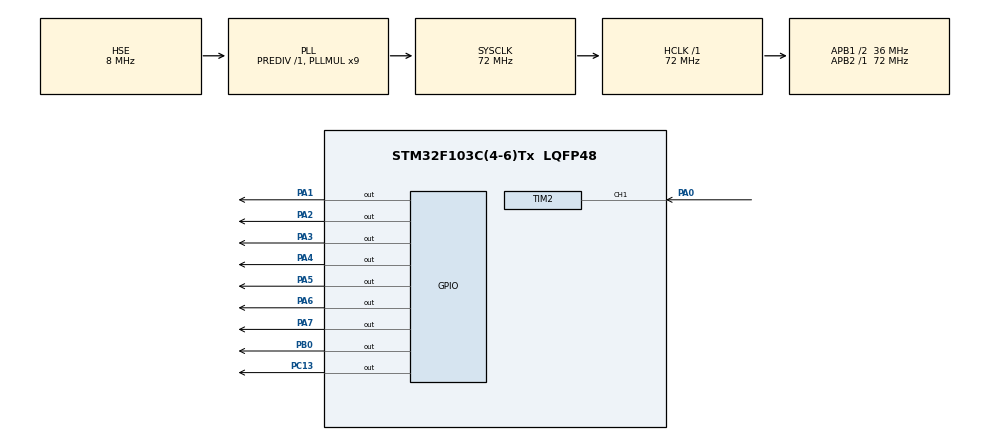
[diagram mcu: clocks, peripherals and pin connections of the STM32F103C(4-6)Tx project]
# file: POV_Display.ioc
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FREERTOS.BinarySemaphores01=DispBinarySem,Dynamic,NULL;ICUBinarySem,Dynamic,NULL;Del1BinarySem,Dynamic,NULL
FREERTOS.Tasks01=MeasureTimeTask,31,85,MeasureTask,Default,NULL,Dynamic,NULL,NULL;POVPrintTask,14,85,PrintPOVTask,Default,NULL,Dynamic,NULL,NULL;ClockTask,13,85,UpdateClockTask,Default,NULL,Dynamic,NULL,NULL;String1Task,12,85,StringOneTask,Default,NULL,Dynamic,NULL,NULL;InitTask,16,85,InitializationTask,Default,NULL,Dynamic,NULL,NULL
FREERTOS.Timers01=SecondsTimer,GetSeconds,osTimerPeriodic,Default,NULL,Dynamic,NULL
FREERTOS.configMINIMAL_STACK_SIZE=85
Mcu.Family=STM32F1
Mcu.Name=STM32F103C(4-6)Tx
Mcu.Package=LQFP48
NVIC.PriorityGroup=NVIC_PRIORITYGROUP_4
NVIC.TIM1_UP_IRQn=true\:15\:0\:false\:false\:true\:false\:false\:true\:true
NVIC.TIM2_IRQn=true\:5\:0\:true\:false\:true\:true\:true\:true\:true
NVIC.TIM3_IRQn=true\:5\:0\:false\:false\:true\:true\:true\:true\:true
NVIC.TimeBase=TIM1_UP_IRQn
NVIC.TimeBaseIP=TIM1
PA0-WKUP.Signal=S_TIM2_CH1_ETR
PA1.GPIO_Speed=GPIO_SPEED_FREQ_MEDIUM
PA1.Signal=GPIO_Output
PA13.Mode=Serial_Wire
PA13.Signal=SYS_JTMS-SWDIO
PA14.Mode=Serial_Wire
PA14.Signal=SYS_JTCK-SWCLK
PA2.GPIO_Speed=GPIO_SPEED_FREQ_MEDIUM
PA2.Signal=GPIO_Output
PA3.GPIO_Speed=GPIO_SPEED_FREQ_MEDIUM
PA3.Signal=GPIO_Output
PA4.GPIO_Speed=GPIO_SPEED_FREQ_MEDIUM
PA4.Signal=GPIO_Output
PA5.GPIO_Speed=GPIO_SPEED_FREQ_MEDIUM
PA5.Signal=GPIO_Output
PA6.GPIO_Speed=GPIO_SPEED_FREQ_MEDIUM
PA6.Signal=GPIO_Output
PA7.GPIO_Speed=GPIO_SPEED_FREQ_MEDIUM
PA7.Signal=GPIO_Output
PB0.GPIO_Speed=GPIO_SPEED_FREQ_MEDIUM
PB0.Signal=GPIO_Output
PC13-TAMPER-RTC.GPIO_Speed=GPIO_SPEED_FREQ_MEDIUM
PC13-TAMPER-RTC.Signal=GPIO_Output
PC14-OSC32_IN.Mode=LSE-External-Oscillator
PC14-OSC32_IN.Signal=RCC_OSC32_IN
PC15-OSC32_OUT.Mode=LSE-External-Oscillator
PC15-OSC32_OUT.Signal=RCC_OSC32_OUT
PD0-OSC_IN.Mode=HSE-External-Oscillator
PD0-OSC_IN.Signal=RCC_OSC_IN
PD1-OSC_OUT.Mode=HSE-External-Oscillator
PD1-OSC_OUT.Signal=RCC_OSC_OUT
ProjectManager.HeapSize=0x200
ProjectManager.StackSize=0x400
ProjectManager.TargetToolchain=STM32CubeIDE
RCC.AHBFreq_Value=72000000
RCC.APB1CLKDivider=RCC_HCLK_DIV2
RCC.APB1Freq_Value=36000000
RCC.APB1TimFreq_Value=72000000
RCC.APB2Freq_Value=72000000
RCC.APB2TimFreq_Value=72000000
RCC.HCLKFreq_Value=72000000
RCC.PLLMUL=RCC_PLL_MUL9
RCC.PLLSourceVirtual=RCC_PLLSOURCE_HSE
RCC.SYSCLKFreq_VALUE=72000000
RCC.SYSCLKSource=RCC_SYSCLKSOURCE_PLLCLK
RCC.USBFreq_Value=72000000
SH.S_TIM2_CH1_ETR.0=TIM2_CH1,Input_Capture1_from_TI1
TIM2.AutoReloadPreload=TIM_AUTORELOAD_PRELOAD_ENABLE
TIM2.Channel-Input_Capture1_from_TI1=TIM_CHANNEL_1
TIM2.ICFilter_CH1=10
TIM2.ICPolarity_CH1=TIM_INPUTCHANNELPOLARITY_FALLING
TIM2.Period=65535
TIM2.Prescaler=0
TIM3.AutoReloadPreload=TIM_AUTORELOAD_PRELOAD_ENABLE
TIM3.Period=724
VP_FREERTOS_VS_CMSIS_V2.Mode=CMSIS_V2
VP_SYS_VS_tim1.Mode=TIM1
VP_TIM2_VS_ClockSourceINT.Mode=Internal
VP_TIM3_VS_ClockSourceINT.Mode=Internal
board=custom

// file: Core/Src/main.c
/* USER CODE BEGIN Header */
/**
  ******************************************************************************
  * @file           : main.c
  * @brief          : Main program body
  ******************************************************************************
  * @attention
  *
  * Copyright (c) 2024 STMicroelectronics.
  * All rights reserved.
  *
  * This software is licensed under terms that can be found in the LICENSE file
  * in the root directory of this software component.
  * If no LICENSE file comes with this software, it is provided AS-IS.
  *
  ******************************************************************************
  */
/* USER CODE END Header */
#include "main.h"
#include "cmsis_os.h"

/* USER CODE BEGIN Includes */
#include "POV_Display.h"
#include <string.h>
/* USER CODE END Includes */

TIM_HandleTypeDef htim2;
TIM_HandleTypeDef htim3;

/* Definitions for MeasureTimeTask */
osThreadId_t MeasureTimeTaskHandle;
const osThreadAttr_t MeasureTimeTask_attributes = {
  .name = "MeasureTimeTask",
  .stack_size = 85 * 4,
  .priority = (osPriority_t) osPriorityNormal7,
};
/* Definitions for POVPrintTask */
osThreadId_t POVPrintTaskHandle;
const osThreadAttr_t POVPrintTask_attributes = {
  .name = "POVPrintTask",
  .stack_size = 85 * 4,
  .priority = (osPriority_t) osPriorityLow6,
};
/* Definitions for ClockTask */
osThreadId_t ClockTaskHandle;
const osThreadAttr_t ClockTask_attributes = {
  .name = "ClockTask",
  .stack_size = 85 * 4,
  .priority = (osPriority_t) osPriorityLow5,
};
/* Definitions for String1Task */
osThreadId_t String1TaskHandle;
const osThreadAttr_t String1Task_attributes = {
  .name = "String1Task",
  .stack_size = 85 * 4,
  .priority = (osPriority_t) osPriorityLow4,
};
/* Definitions for InitTask */
osThreadId_t InitTaskHandle;
const osThreadAttr_t InitTask_attributes = {
  .name = "InitTask",
  .stack_size = 85 * 4,
  .priority = (osPriority_t) osPriorityBelowNormal,
};
/* Definitions for SecondsTimer */
osTimerId_t SecondsTimerHandle;
const osTimerAttr_t SecondsTimer_attributes = {
  .name = "SecondsTimer"
};
/* Definitions for DispBinarySem */
osSemaphoreId_t DispBinarySemHandle;
const osSemaphoreAttr_t DispBinarySem_attributes = {
  .name = "DispBinarySem"
};
/* Definitions for ICUBinarySem */
osSemaphoreId_t ICUBinarySemHandle;
const osSemaphoreAttr_t ICUBinarySem_attributes = {
  .name = "ICUBinarySem"
};
/* Definitions for Del1BinarySem */
osSemaphoreId_t Del1BinarySemHandle;
const osSemaphoreAttr_t Del1BinarySem_attributes = {
  .name = "Del1BinarySem"
};
/* USER CODE BEGIN PV */

const uint8_t data[RESOLUTION] =      /* �?لسطين،حرة */
{
		0x04, 0x0c, 0x1c, 0x3c, 0x7c, 0xfc, 0x7c, 0x3c,
		0x1c, 0x0c, 0x04, 0x00, 0x00, 0x00, 0x00, 0x00,
		0x00, 0x00, 0x71, 0xcc, 0xd9, 0x70, 0x00, 0x80,
		0x80, 0xcc, 0x78, 0x30, 0x30, 0x30, 0x30, 0x30,

		0x30, 0x30, 0x30, 0x30, 0x30, 0x30, 0x30, 0x30,
		0x30, 0x30, 0x30, 0x30, 0x30, 0x30, 0x30, 0x34,
		0x36, 0x16, 0x1c, 0x18, 0x18, 0x00, 0x00, 0x00,
		0x00, 0x00, 0x00, 0x00, 0x00, 0x00, 0x00, 0x00,

		0x70, 0xc8, 0xc1, 0xc0, 0x64, 0x38, 0x30, 0x30,
		0x30, 0x30, 0x30, 0x30, 0x30, 0x30, 0xb0, 0x30,
		0x9c, 0x30, 0x30, 0x30, 0x30, 0x30, 0x30, 0x30,
		0x30, 0x3f, 0x38, 0x34, 0x36, 0x36, 0x1c, 0x30,

		0x30, 0x30, 0x30, 0x30, 0x30, 0x30, 0x30, 0x30,
		0x30, 0x30, 0x30, 0x30, 0x30, 0x18, 0x30, 0x30,
		0x1c, 0x30, 0x36, 0x1c, 0x30, 0x30, 0x30, 0x30,
		0x30, 0x1f, 0x30, 0x30, 0x30, 0x36, 0x15, 0x0e
};

uint8_t DayNight[3] = "PM";
const uint8_t Message[][20] =
{
	{"David S. Alexander"},
	{"Free Palestine"    },
	{"Never Give Up"     },
	{"123 ABC @#$%^&{*+("},
	{"< God Is Love >"   }
};
uint8_t MessageCounter = 0;
uint8_t Seconds     = 35;
uint8_t Minutes     = 59;
uint8_t Hours       = 12;
/* USER CODE END PV */

void SystemClock_Config(void);
static void MX_GPIO_Init(void);
static void MX_TIM2_Init(void);
static void MX_TIM3_Init(void);
void MeasureTask(void *argument);
void PrintPOVTask(void *argument);
void UpdateClockTask(void *argument);
void StringOneTask(void *argument);
void InitializationTask(void *argument);
void GetSeconds(void *argument);

/* USER CODE BEGIN PFP */
void POV_DisplayIntro(void);
/* USER CODE END PFP */

int main(void)
{

  /* MCU Configuration--------------------------------------------------------*/

  /* Reset of all peripherals, Initializes the Flash interface and the Systick. */
  HAL_Init();

  /* Configure the system clock */
  SystemClock_Config();

  /* Initialize all configured peripherals */
  MX_GPIO_Init();
  MX_TIM2_Init();
  MX_TIM3_Init();

  /* Init scheduler */
  osKernelInitialize();

  /* Create the semaphores(s) */
  /* creation of DispBinarySem */
  DispBinarySemHandle = osSemaphoreNew(1, 1, &DispBinarySem_attributes);

  /* creation of ICUBinarySem */
  ICUBinarySemHandle = osSemaphoreNew(1, 1, &ICUBinarySem_attributes);

  /* creation of Del1BinarySem */
  Del1BinarySemHandle = osSemaphoreNew(1, 0, &Del1BinarySem_attributes);

  /* Create the timer(s) */
  /* creation of SecondsTimer */
  SecondsTimerHandle = osTimerNew(GetSeconds, osTimerPeriodic, NULL, &SecondsTimer_attributes);

  /* USER CODE BEGIN RTOS_TIMERS */
  /* start timers, add new ones, ... */
  osTimerStart(SecondsTimerHandle, 1000U);
  /* USER CODE END RTOS_TIMERS */

  /* Create the thread(s) */
  /* creation of MeasureTimeTask */
  MeasureTimeTaskHandle = osThreadNew(MeasureTask, NULL, &MeasureTimeTask_attributes);

  /* creation of POVPrintTask */
  POVPrintTaskHandle = osThreadNew(PrintPOVTask, NULL, &POVPrintTask_attributes);

  /* creation of ClockTask */
  ClockTaskHandle = osThreadNew(UpdateClockTask, NULL, &ClockTask_attributes);

  /* creation of String1Task */
  String1TaskHandle = osThreadNew(StringOneTask, NULL, &String1Task_attributes);

  /* creation of InitTask */
  InitTaskHandle = osThreadNew(InitializationTask, NULL, &InitTask_attributes);

  /* Start scheduler */
  osKernelStart();

  /* We should never get here as control is now taken by the scheduler */
  /* Infinite loop */
  while (1)
  {

  }
}

void SystemClock_Config(void)
{
  RCC_OscInitTypeDef RCC_OscInitStruct = {0};
  RCC_ClkInitTypeDef RCC_ClkInitStruct = {0};

  /** Initializes the RCC Oscillators according to the specified parameters
  * in the RCC_OscInitTypeDef structure.
  */
  RCC_OscInitStruct.OscillatorType = RCC_OSCILLATORTYPE_HSE;
  RCC_OscInitStruct.HSEState = RCC_HSE_ON;
  RCC_OscInitStruct.HSEPredivValue = RCC_HSE_PREDIV_DIV1;
  RCC_OscInitStruct.HSIState = RCC_HSI_ON;
  RCC_OscInitStruct.PLL.PLLState = RCC_PLL_ON;
  RCC_OscInitStruct.PLL.PLLSource = RCC_PLLSOURCE_HSE;
  RCC_OscInitStruct.PLL.PLLMUL = RCC_PLL_MUL9;
  if (HAL_RCC_OscConfig(&RCC_OscInitStruct) != HAL_OK)
  {
    Error_Handler();
  }

  /** Initializes the CPU, AHB and APB buses clocks
  */
  RCC_ClkInitStruct.ClockType = RCC_CLOCKTYPE_HCLK|RCC_CLOCKTYPE_SYSCLK
                              |RCC_CLOCKTYPE_PCLK1|RCC_CLOCKTYPE_PCLK2;
  RCC_ClkInitStruct.SYSCLKSource = RCC_SYSCLKSOURCE_PLLCLK;
  RCC_ClkInitStruct.AHBCLKDivider = RCC_SYSCLK_DIV1;
  RCC_ClkInitStruct.APB1CLKDivider = RCC_HCLK_DIV2;
  RCC_ClkInitStruct.APB2CLKDivider = RCC_HCLK_DIV1;

  if (HAL_RCC_ClockConfig(&RCC_ClkInitStruct, FLASH_LATENCY_2) != HAL_OK)
  {
    Error_Handler();
  }
}

static void MX_TIM2_Init(void)
{

  TIM_ClockConfigTypeDef sClockSourceConfig = {0};
  TIM_MasterConfigTypeDef sMasterConfig = {0};
  TIM_IC_InitTypeDef sConfigIC = {0};

  htim2.Instance = TIM2;
  htim2.Init.Prescaler = 0;
  htim2.Init.CounterMode = TIM_COUNTERMODE_UP;
  htim2.Init.Period = 65535;
  htim2.Init.ClockDivision = TIM_CLOCKDIVISION_DIV1;
  htim2.Init.AutoReloadPreload = TIM_AUTORELOAD_PRELOAD_ENABLE;
  if (HAL_TIM_Base_Init(&htim2) != HAL_OK)
  {
    Error_Handler();
  }
  sClockSourceConfig.ClockSource = TIM_CLOCKSOURCE_INTERNAL;
  if (HAL_TIM_ConfigClockSource(&htim2, &sClockSourceConfig) != HAL_OK)
  {
    Error_Handler();
  }
  if (HAL_TIM_IC_Init(&htim2) != HAL_OK)
  {
    Error_Handler();
  }
  sMasterConfig.MasterOutputTrigger = TIM_TRGO_RESET;
  sMasterConfig.MasterSlaveMode = TIM_MASTERSLAVEMODE_DISABLE;
  if (HAL_TIMEx_MasterConfigSynchronization(&htim2, &sMasterConfig) != HAL_OK)
  {
    Error_Handler();
  }
  sConfigIC.ICPolarity = TIM_INPUTCHANNELPOLARITY_FALLING;
  sConfigIC.ICSelection = TIM_ICSELECTION_DIRECTTI;
  sConfigIC.ICPrescaler = TIM_ICPSC_DIV1;
  sConfigIC.ICFilter = 10;
  if (HAL_TIM_IC_ConfigChannel(&htim2, &sConfigIC, TIM_CHANNEL_1) != HAL_OK)
  {
    Error_Handler();
  }

}

static void MX_TIM3_Init(void)
{

  TIM_ClockConfigTypeDef sClockSourceConfig = {0};
  TIM_MasterConfigTypeDef sMasterConfig = {0};

  htim3.Instance = TIM3;
  htim3.Init.Prescaler = 0;
  htim3.Init.CounterMode = TIM_COUNTERMODE_UP;
  htim3.Init.Period = 724;
  htim3.Init.ClockDivision = TIM_CLOCKDIVISION_DIV1;
  htim3.Init.AutoReloadPreload = TIM_AUTORELOAD_PRELOAD_ENABLE;
  if (HAL_TIM_Base_Init(&htim3) != HAL_OK)
  {
    Error_Handler();
  }
  sClockSourceConfig.ClockSource = TIM_CLOCKSOURCE_INTERNAL;
  if (HAL_TIM_ConfigClockSource(&htim3, &sClockSourceConfig) != HAL_OK)
  {
    Error_Handler();
  }
  sMasterConfig.MasterOutputTrigger = TIM_TRGO_RESET;
  sMasterConfig.MasterSlaveMode = TIM_MASTERSLAVEMODE_DISABLE;
  if (HAL_TIMEx_MasterConfigSynchronization(&htim3, &sMasterConfig) != HAL_OK)
  {
    Error_Handler();
  }

}

static void MX_GPIO_Init(void)
{
  GPIO_InitTypeDef GPIO_InitStruct = {0};

  /* GPIO Ports Clock Enable */
  __HAL_RCC_GPIOC_CLK_ENABLE();
  __HAL_RCC_GPIOD_CLK_ENABLE();
  __HAL_RCC_GPIOA_CLK_ENABLE();
  __HAL_RCC_GPIOB_CLK_ENABLE();

  /*Configure GPIO pin Output Level */
  HAL_GPIO_WritePin(GPIOC, GPIO_PIN_13, GPIO_PIN_RESET);

  /*Configure GPIO pin Output Level */
  HAL_GPIO_WritePin(GPIOA, GPIO_PIN_1|GPIO_PIN_2|GPIO_PIN_3|GPIO_PIN_4
                          |GPIO_PIN_5|GPIO_PIN_6|GPIO_PIN_7, GPIO_PIN_RESET);

  /*Configure GPIO pin Output Level */
  HAL_GPIO_WritePin(GPIOB, GPIO_PIN_0, GPIO_PIN_RESET);

  /*Configure GPIO pin : PC13 */
  GPIO_InitStruct.Pin = GPIO_PIN_13;
  GPIO_InitStruct.Mode = GPIO_MODE_OUTPUT_PP;
  GPIO_InitStruct.Pull = GPIO_NOPULL;
  GPIO_InitStruct.Speed = GPIO_SPEED_FREQ_MEDIUM;
  HAL_GPIO_Init(GPIOC, &GPIO_InitStruct);

  /*Configure GPIO pins : PA1 PA2 PA3 PA4
                           PA5 PA6 PA7 */
  GPIO_InitStruct.Pin = GPIO_PIN_1|GPIO_PIN_2|GPIO_PIN_3|GPIO_PIN_4
                          |GPIO_PIN_5|GPIO_PIN_6|GPIO_PIN_7;
  GPIO_InitStruct.Mode = GPIO_MODE_OUTPUT_PP;
  GPIO_InitStruct.Pull = GPIO_NOPULL;
  GPIO_InitStruct.Speed = GPIO_SPEED_FREQ_MEDIUM;
  HAL_GPIO_Init(GPIOA, &GPIO_InitStruct);

  /*Configure GPIO pin : PB0 */
  GPIO_InitStruct.Pin = GPIO_PIN_0;
  GPIO_InitStruct.Mode = GPIO_MODE_OUTPUT_PP;
  GPIO_InitStruct.Pull = GPIO_NOPULL;
  GPIO_InitStruct.Speed = GPIO_SPEED_FREQ_MEDIUM;
  HAL_GPIO_Init(GPIOB, &GPIO_InitStruct);

}

/* USER CODE BEGIN 4 */

/**
 * @brief Display an introductory animation on the POV display.
 *
 * This function creates a visual introduction with a moving border and pixel animation.
 * It uses the POV_DrawLine, POV_WritePixel, POV_Clear, and osDelay functions to control
 * the display. The animation consists of a moving border that expands and contracts,
 * followed by a pixel animation moving across the display.
 *
 * @note This function uses osDelay for introducing delays between animation steps.
 */
void POV_DisplayIntro(void)
{
    /* Clear the POV display */
    POV_Clear();

    /* Moving border animation - expanding */
    for(uint8_t BorderCounter = 0; BorderCounter < PIXELS; BorderCounter++)
    {
        for(uint8_t LinesCounter = 0; LinesCounter < RESOLUTION; LinesCounter += 8)
        {
            POV_DrawLine(LinesCounter, 0, (LinesCounter + BorderCounter), BorderCounter);
        }
        osDelay(200);
    }

    osDelay(200);

    /* Moving border animation - contracting */
    for(uint8_t BorderCounter = PIXELS - 1; (BorderCounter >= 0 && BorderCounter < PIXELS); BorderCounter--)
    {
        for(uint8_t LinesCounter = 0; LinesCounter < RESOLUTION; LinesCounter += 8)
        {
            POV_DrawLine(LinesCounter, 0, (LinesCounter + BorderCounter), BorderCounter);
        }
        osDelay(200);
        POV_Clear();
    }

    /* Pixel animation - turning pixels on */
    for(uint8_t LinesCounter = 0; LinesCounter < (RESOLUTION - 8);)
    {
        for(uint8_t BorderCounter = 0; BorderCounter < PIXELS; BorderCounter++)
        {
            POV_WritePixel(BorderCounter, LinesCounter++, ON);
            POV_WritePixel(BorderCounter, LinesCounter++, ON);
        }
        osDelay(200);
    }

    osDelay(200);

    /* Pixel animation - turning pixels off */
    for(uint8_t LinesCounter = 0; LinesCounter < (RESOLUTION - 8);)
    {
        for(uint8_t BorderCounter = 0; BorderCounter < PIXELS; BorderCounter++)
        {
            POV_WritePixel(BorderCounter, LinesCounter++, OFF);
            POV_WritePixel(BorderCounter, LinesCounter++, OFF);
        }
        osDelay(200);
    }
}

/**
  * @brief Callback function for TIM2 input capture interrupt.
  *
  * This function is called when an input capture event occurs on TIM2.
  * It calculates the time difference between consecutive capture events, sets the period for TIM3 interrupts,
  * and resets relevant counters and registers for further measurements.
  *
  * @param htim: Pointer to the TIM_HandleTypeDef structure that contains the configuration information for TIM2.
  */
void HAL_TIM_IC_CaptureCallback(TIM_HandleTypeDef *htim)
{
	if (htim->Instance == TIM2)
	{
		osSemaphoreRelease(ICUBinarySemHandle);
	}
}

/* USER CODE END 4 */

void MeasureTask(void *argument)
{
  /* USER CODE BEGIN 5 */
  /* Infinite loop */
  for(;;)
  {
	  osSemaphoreAcquire(ICUBinarySemHandle, osWaitForever);

	  /* Measure the period the feed the interrupt period */
	  POV_MeasurePeriod();
  }
  /* USER CODE END 5 */
}

void PrintPOVTask(void *argument)
{
  /* USER CODE BEGIN PrintPOVTask */
  /* Infinite loop */
  for(;;)
  {
	  osSemaphoreAcquire(DispBinarySemHandle, osWaitForever);
	  /* Print the required pattern */
      POV_ControlFrames();
  }
  /* USER CODE END PrintPOVTask */
}

void UpdateClockTask(void *argument)
{
  /* USER CODE BEGIN UpdateClockTask */
  /* Infinite loop */
  for(;;)
  {
	osSemaphoreAcquire(Del1BinarySemHandle, osWaitForever);
    POV_Clear();
    uint8_t SecCounter = 0;
    /* Update the clock 4 seconds */
    for(; SecCounter < 8; SecCounter++)
    {
  	  POV_SetCursor(0);
  	  POV_WriteInteger(Hours/10);
  	  POV_WriteInteger(Hours%10);
  	  POV_WriteChar(':');
  	  POV_WriteInteger(Minutes/10);
  	  POV_WriteInteger(Minutes%10);
  	  POV_WriteChar(':');
  	  POV_WriteInteger(Seconds/10);
  	  POV_WriteInteger(Seconds%10);
  	  POV_WriteChar(' ');
  	  POV_WriteString(DayNight);

  	  /* Write the RPM counts at the position 16 */
  	  POV_WriteIntegerInPos(POV_MeasureRPM(), 16);
  	  POV_WriteString((const uint8_t*)" RPM");
  	  osDelay(500);
    }
    osSemaphoreRelease(Del1BinarySemHandle);
    osDelay(3000);
  }
  /* USER CODE END UpdateClockTask */
}

void StringOneTask(void *argument)
{
  /* USER CODE BEGIN StringOneTask */
  /* Infinite loop */
  for(;;)
  {
	osSemaphoreAcquire(Del1BinarySemHandle, osWaitForever);
    POV_Clear();
    uint8_t DelCounter = 0;
    for(; DelCounter < 12; DelCounter++)
    {
      POV_Clear();
      POV_WriteStringInPos(Message[MessageCounter], DelCounter);
      osDelay(250);
    }
    osSemaphoreRelease(Del1BinarySemHandle);
    /* Update Counter position for the next message */
    MessageCounter = (MessageCounter + 1) % 5;
  }
  /* USER CODE END StringOneTask */
}

void InitializationTask(void *argument)
{
  /* USER CODE BEGIN InitializationTask */
  /* Infinite loop */
  POV_Init();
  POV_DrawBitmap(data, (sizeof(data) / sizeof(data[0])));
  osDelay(8000);
  POV_DisplayIntro();
  osSemaphoreRelease(Del1BinarySemHandle);

  /* Task to initialize once and terminate */
  osThreadTerminate(InitTaskHandle);
  /* USER CODE END InitializationTask */
}

/* GetSeconds function */
void GetSeconds(void *argument)
{
  /* USER CODE BEGIN GetSeconds */
	  Seconds++;
	  if (Seconds >= 60)
	  {
		  Seconds = 0;
		  Minutes++;
		  if (Minutes >= 60)
		  {
			  Minutes = 0;
			  Hours++;
			  if (Hours >= 13)
			  {
				  Hours = 1;
				  if (strcmp((char*)DayNight, "PM") == 0)
				  {
					  /* DayNight is "PM", so change it to "AM" */
					  memcpy(DayNight, "AM", sizeof("AM") - 1);
				  }
				  else
				  {
					  /* DayNight is "AM", change it to "PM" */
					  memcpy(DayNight, "PM", sizeof("PM") - 1);
				  }
			  }
		  }
	  }
  /* USER CODE END GetSeconds */
}

void HAL_TIM_PeriodElapsedCallback(TIM_HandleTypeDef *htim)
{
  if (htim->Instance == TIM1) {
    HAL_IncTick();
  }
  /* USER CODE BEGIN Callback 1 */
  /* Check if the interrupt is triggered by TIM2 */
  else if (htim->Instance == TIM2)
  {
	  /* Increment the overflow counter for TIM2 */
      ICU_TIM_OVC++;
  }
  /* Check if the interrupt is triggered by TIM3 */
  else if (htim->Instance == TIM3)
  {
	  osSemaphoreRelease(DispBinarySemHandle);
  }
  /* USER CODE END Callback 1 */
}

void Error_Handler(void)
{
  __disable_irq();
  while (1)
  {
  }
}
